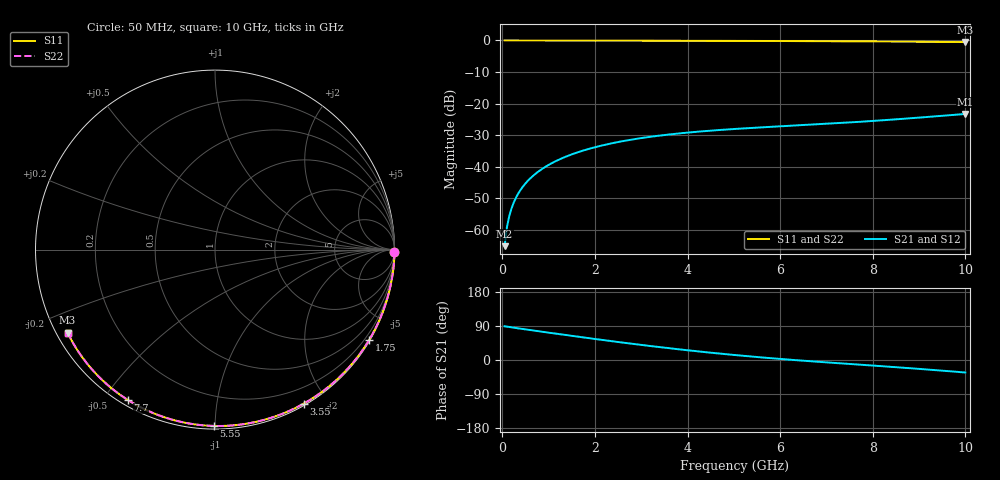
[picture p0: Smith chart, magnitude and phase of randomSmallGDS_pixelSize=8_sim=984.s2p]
! freq	dB(S11)	phase(S11)	dB(S12)	phase(S12)
!  dB(S21)	phase(S21)	dB(S22)	phase(S22)
!S-par simulation data
#  GHz  S  DB  R 50
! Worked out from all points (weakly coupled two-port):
!   200 points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, 50 MHz to 10 GHz, reference 50 ohm
!   highest |S21| = -23.30 dB at 10 GHz (marker M1); lowest = -65.2 dB at 50 MHz (marker M2)
!   lowest |S11| = -0.5 dB at 10 GHz (marker M3), VSWR 34.00, Z = 1.57 - j13.1 ohm
!   |S11| at or under -10 dB: nowhere
!   |S22| runs from -0.5 to 0.0 dB; largest |S21 - S12| = 0
!   S11 on the Smith chart (normalised r, x): 50 MHz: open; 1.75 GHz: 0.03, -3.67; 3.55 GHz: 0.02, -1.73; 5.55 GHz: 0.02, -0.99; 7.7 GHz: 0.02, -0.58; 10 GHz: 0.03, -0.26
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0.05  -0.00 -0.9  -65.21 89.0  -65.21 89.0  -0.00 -0.9
0.1  -0.00 -1.8  -59.20 88.0  -59.20 88.0  -0.00 -1.8
0.15  -0.00 -2.7  -55.69 87.1  -55.69 87.1  -0.00 -2.7
0.2  -0.00 -3.5  -53.20 86.1  -53.20 86.1  -0.00 -3.5
0.25  -0.00 -4.4  -51.28 85.2  -51.28 85.2  -0.00 -4.4
0.35  -0.00 -6.2  -48.39 83.4  -48.39 83.4  -0.00 -6.2
0.5  -0.01 -8.8  -45.33 80.7  -45.33 80.7  -0.01 -8.8
0.7  -0.01 -12.4  -42.46 77.3  -42.46 77.3  -0.01 -12.3
1  -0.02 -17.6  -39.45 72.2  -39.45 72.2  -0.02 -17.6
1.35  -0.03 -23.6  -36.97 66.3  -36.97 66.3  -0.03 -23.6
1.75  -0.04 -30.5  -34.89 59.6  -34.89 59.6  -0.04 -30.5
2.5  -0.06 -43.1  -32.20 47.5  -32.20 47.5  -0.06 -43.1
3.4  -0.08 -57.7  -30.16 34.0  -30.16 34.0  -0.08 -57.7
3.55  -0.08 -60.1  -29.89 31.8  -29.89 31.8  -0.08 -60.1
4.3  -0.11 -71.8  -28.82 21.8  -28.82 21.8  -0.11 -71.8
5.05  -0.13 -83.1  -28.03 12.8  -28.03 12.8  -0.13 -83.1
5.55  -0.15 -90.4  -27.59 7.3  -27.59 7.3  -0.15 -90.3
6.7  -0.21 -106.6  -26.67 -3.7  -26.67 -3.7  -0.21 -106.5
7.7  -0.28 -120.1  -25.81 -12.2  -25.81 -12.2  -0.28 -120.1
8.35  -0.33 -128.8  -25.16 -17.6  -25.16 -17.6  -0.33 -128.7
9.2  -0.42 -140.0  -24.23 -25.3  -24.23 -25.3  -0.42 -140.0
10  -0.51 -150.6  -23.30 -33.0  -23.30 -33.0  -0.51 -150.6
